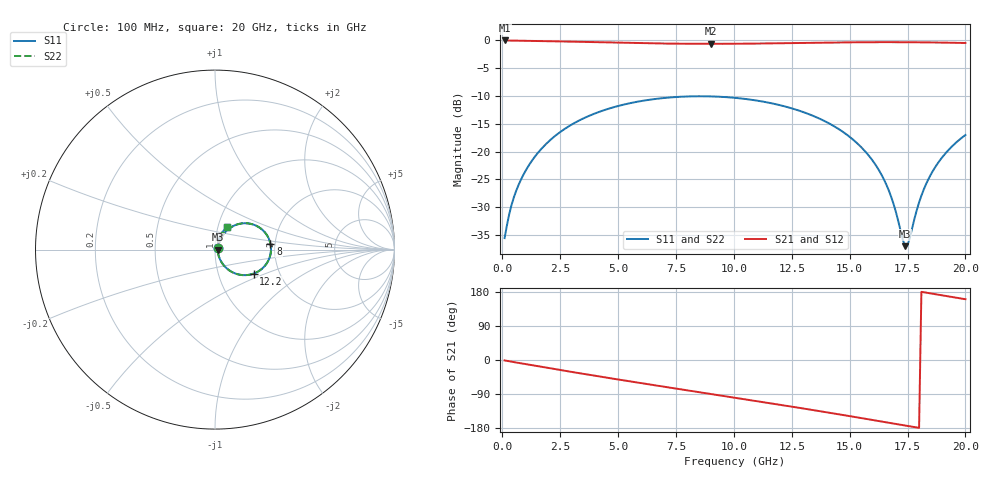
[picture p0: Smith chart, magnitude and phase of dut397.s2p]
! Touchstone file exported from HFSS 2026.1.0
!  File:  C:/ffzhzh/LocalFiles/Ansys_Project_Files/temp_train_TSV_RDL_397_1783091880_50312.aedt
!  Generated:  11:27:03 PM Jul  3, 2026
!  Design:  TSV_RDL
!  Project:  temp_train_TSV_RDL_397_1783091880_50312
! Variables:
!  h_bsmrdl = 3.1um
!  h_ox = 20um
!  h_rdl = 5um
!  h_sub = 60.28um
!  h_tmrdl = 4.19um
!  h_tsv = 60.28um
!  h_via = 3um
!  l_bsmrdl = 754.41um
!  l_sub = 3449.09um
!  l_tmrdl = 164.38um
!  m_sub = 200um
!  pitch = 36.1um
!  r_tsv = 9.52um
!  s_tmrdl = 10um
!  w_bsmrdl = 24.61um
!  w_sub = 500um
!  w_tmrdl = 18.17um
!  x_tsv_center1 = 173.465um
!  x_tsv_center2 = 952.485um
!  x_tsv_center3 = 1135.035um
!  x_tsv_center4 = 1914.055um
!  x_tsv_center5 = 2096.605um
!  x_tsv_center6 = 2875.625um
# GHz S MA R 50.000000
! Terminal data exported
! Port[1] = TM_RDL1_1_T1
! Port[2] = TM_RDL5_1_T1
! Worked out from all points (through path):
!   200 points, 100 MHz to 20 GHz, reference 50 ohm
!   highest |S21| = -0.13 dB at 100 MHz (marker M1); lowest = -0.7 dB at 9 GHz (marker M2)
!   group delay of S21, straight-line fit = 27.3 ps
!   lowest |S11| = -36.9 dB at 17.4 GHz (marker M3), VSWR 1.03, Z = 51.4 - j0.127 ohm
!   |S11| at or under -10 dB: start of sweep to end of sweep
!   |S22| runs from -37.0 to -10.1 dB; largest |S21 - S12| = 3.1e-14
!   S11 on the Smith chart (normalised r, x): 100 MHz: 1.03, +0.02; 8 GHz: 1.89, +0.13; 12.2 GHz: 1.48, -0.42; 20 GHz: 1.10, +0.28
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0.1  0.01681 26.4  0.9851 -1.2  0.9851 -1.2  0.01681 26.4
! Gamma 0 0 0 0
! Port Impedance 50 0 50 0
0.3  0.02759 48.9  0.9829 -3.4  0.9829 -3.4  0.02759 48.9
0.5  0.03895 56.0  0.9808 -5.5  0.9808 -5.5  0.03895 56.0
1.2  0.07826 61.7  0.976 -12.8  0.976 -12.8  0.07826 61.7
2.2  0.1336 57.1  0.9686 -23.2  0.9686 -23.2  0.1336 57.1
3.5  0.1977 46.6  0.9559 -36.5  0.9559 -36.5  0.1977 46.6
5.1  0.2585 32.2  0.9393 -52.4  0.9393 -52.4  0.2585 32.2
6.8  0.2984 16.7  0.9257 -68.7  0.9257 -68.7  0.2984 16.7
8  0.3108 5.9  0.9203 -80.0  0.9203 -80.0  0.3109 5.9
9  0.3113 -3.0  0.919 -89.5  0.919 -89.5  0.3113 -3.1
10.1  0.3014 -12.9  0.9207 -99.9  0.9207 -99.9  0.3015 -12.9
12.2  0.2533 -31.9  0.9309 -120.1  0.9309 -120.1  0.2533 -31.9
13.4  0.2095 -42.7  0.9386 -131.9  0.9386 -131.9  0.2095 -42.7
15.4  0.1147 -59.1  0.949 -152.2  0.949 -152.2  0.1147 -59.2
16.1  0.07714 -62.7  0.9508 -159.4  0.9508 -159.4  0.07713 -62.8
16.7  0.04442 -60.7  0.9512 -165.6  0.9512 -165.6  0.04439 -60.9
17.4  0.01424 -5.0  0.9503 -172.9  0.9503 -172.9  0.01409 -5.1
17.5  0.01452 17.0  0.95 -173.9  0.95 -173.9  0.01437 17.0
18  0.03505 64.0  0.9483 -179.1  0.9483 -179.1  0.03496 64.3
18.5  0.06187 69.6  0.9459 175.7  0.9459 175.7  0.06181 69.7
19.2  0.09952 67.6  0.9415 168.5  0.9415 168.5  0.09947 67.7
20  0.1405 62.1  0.9352 160.4  0.9352 160.4  0.1405 62.2
